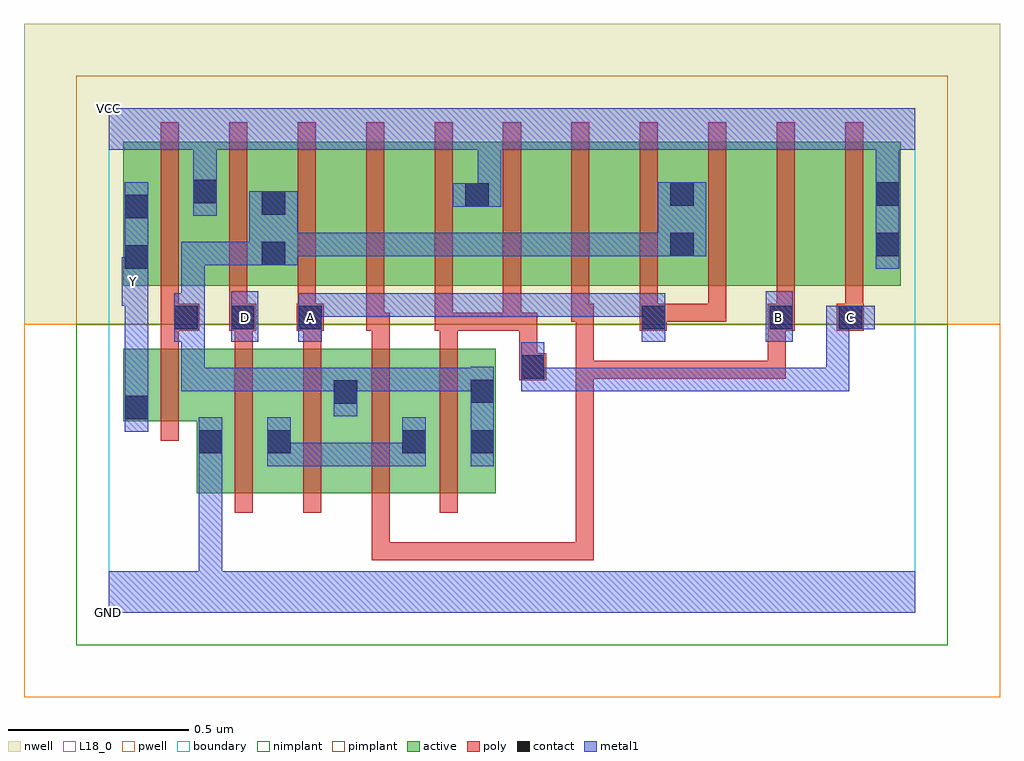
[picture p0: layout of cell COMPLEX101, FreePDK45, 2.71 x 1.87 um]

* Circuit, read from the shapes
.subckt COMPLEX101 A B C D GND VCC Y
M1 GND n1 Y VSUBS nfet w=0.2u l=0.05u
M2 n2 D GND VSUBS nfet w=0.4u l=0.05u
M3 n1 A n2 VSUBS nfet w=0.4u l=0.05u
M4 n2 B n1 VSUBS nfet w=0.4u l=0.05u
M5 n1 C n2 VSUBS nfet w=0.4u l=0.05u
M6 VCC n1 Y n3 pfet w=0.4u l=0.05u
M7 n1 D VCC n3 pfet w=0.4u l=0.05u
M8 n4 A n1 n3 pfet w=0.4u l=0.05u
M9 n5 B n4 n3 pfet w=0.4u l=0.05u
M10 VCC C n5 n3 pfet w=0.4u l=0.05u
M11 n6 C VCC n3 pfet w=0.4u l=0.05u
M12 n7 B n6 n3 pfet w=0.4u l=0.05u
M13 n1 A n7 n3 pfet w=0.4u l=0.05u
M14 n8 A n1 n3 pfet w=0.4u l=0.05u
M15 n9 B n8 n3 pfet w=0.4u l=0.05u
M16 VCC C n9 n3 pfet w=0.4u l=0.05u
.ends

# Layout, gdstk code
import gdstk
lib = gdstk.Library(unit=1e-6, precision=1e-09)
def R(c, l, rs):  # rectangles x0, y0, x1, y1
    for r in rs: c.add(gdstk.rectangle(r[:2], r[2:], *l))
def A(c, l, x, y, w, h, nx, ny, dx, dy):  # array of equal rectangles
    R(c, l, [(x+i*dx, y+j*dy, x+i*dx+w, y+j*dy+h) for i in range(nx) for j in range(ny)])
active = (1, 0)
pwell = (2, 0)
nwell = (3, 0)
nimplant = (4, 0)
pimplant = (5, 0)
poly = (9, 0)
contact = (10, 0)
metal1 = (11, 0)
L18_0 = (18, 0)
boundary = (235, 0)

complex101 = lib.new_cell('COMPLEX101')
A(complex101, active, 0.645, 0.907, 0.19, 0.4, 3, 1, 0.57, 0)
A(complex101, active, 0.835, 0.907, 0.225, 0.4, 3, 1, 0.57, 0)
R(complex101, active, [(0.245,0.332,0.51,0.732), (0.435,0.332,0.695,0.732), (0.435,0.332,0.51,0.597), (0.62,0.332,0.885,0.732), (0.81,0.332,1.075,0.732), (0.62,0.345,0.695,0.732), (0.81,0.345,0.885,0.537), (1,0.345,1.075,0.732), (0.245,0.437,0.32,0.597), (0.04,0.532,0.32,0.732), (0.04,0.532,0.115,0.732), (0.04,0.907,0.305,1.307), (0.04,0.907,0.115,1.2), (0.23,0.907,0.495,1.307), (0.23,0.907,0.305,1.307), (0.42,0.907,0.645,1.307), (0.42,0.907,0.495,1.2), (0.985,0.907,1.06,1.307), (0.985,0.907,1.215,1.307), (1.555,0.907,1.785,1.307), (1.555,0.907,1.63,1.2), (2.125,0.907,2.2,1.307)])
R(complex101, pwell, [(-0.235,-0.235,2.475,0.8)])
R(complex101, nwell, [(-0.235,0.8,2.475,1.635)])
R(complex101, nimplant, [(-0.09,-0.09,2.33,0.8)])
R(complex101, pimplant, [(-0.09,0.8,2.33,1.49)])
A(complex101, poly, 0.35, 0.277, 0.05, 0.51, 4, 1, 0.19, 0)
A(complex101, poly, 0.35, 0.737, 0.05, 0.095, 4, 1, 0.19, 0)
A(complex101, poly, 0.715, 0.782, 0.05, 0.12, 3, 1, 0.19, 0)
A(complex101, poly, 0.145, 0.807, 0.05, 0.095, 3, 1, 0.19, 0)
A(complex101, poly, 1.285, 0.807, 0.05, 0.095, 5, 1, 0.19, 0)
A(complex101, poly, 0.145, 0.852, 0.05, 0.51, 11, 1, 0.19, 0)
R(complex101, poly, [(0.73,0.145,0.78,0.195), (0.73,0.145,0.78,0.195), (0.73,0.145,0.78,0.195), (0.73,0.145,0.78,0.327), (0.73,0.145,1.012,0.195), (0.962,0.145,1.012,0.195), (0.962,0.145,1.012,0.195), (0.962,0.145,1.012,0.195), (0.962,0.145,1.202,0.195), (1.152,0.145,1.202,0.195), (1.152,0.145,1.202,0.195), (1.152,0.145,1.202,0.195), (1.152,0.145,1.202,0.195), (1.152,0.145,1.202,0.195), (1.152,0.145,1.347,0.195), (1.297,0.145,1.347,0.195), (1.297,0.145,1.347,0.195), (1.297,0.145,1.347,0.195), (1.297,0.145,1.347,0.7), (0.145,0.477,0.195,0.787), (1.14,0.645,1.215,0.72), (1.297,0.65,1.347,0.7), (1.297,0.65,1.347,0.7), (1.297,0.65,1.347,0.7), (1.297,0.65,1.582,0.7), (1.297,0.65,1.347,0.857), (1.532,0.65,1.582,0.7), (1.532,0.65,1.582,0.7), (1.532,0.65,1.582,0.7), (1.532,0.65,1.747,0.7), (1.697,0.65,1.747,0.7), (1.697,0.65,1.747,0.7), (1.697,0.65,1.747,0.7), (1.697,0.65,1.88,0.7), (1.83,0.65,1.88,0.7), (1.83,0.65,1.88,0.832), (1.14,0.67,1.19,0.832), (0.145,0.737,0.195,0.832), (0.145,0.782,0.252,0.857), (0.335,0.782,0.41,0.857), (0.522,0.782,0.597,0.857), (0.715,0.782,0.78,0.832), (0.905,0.782,0.97,0.832), (0.92,0.782,0.97,0.832), (0.92,0.782,0.97,0.832), (0.92,0.782,1.145,0.832), (1.095,0.782,1.19,0.832), (1.14,0.782,1.19,0.832), (1.14,0.782,1.19,0.832), (1.475,0.782,1.55,0.857), (1.83,0.782,1.905,0.857), (1.83,0.782,1.88,0.832), (1.83,0.782,1.88,0.832), (2.022,0.782,2.097,0.857), (1.285,0.807,1.347,0.857), (1.297,0.807,1.347,0.857), (1.297,0.807,1.347,0.857), (1.5,0.807,1.55,0.857), (1.5,0.807,1.55,0.857), (1.5,0.807,1.715,0.857), (1.665,0.807,1.715,0.857)])
R(complex101, contact, [(0.25,0.442,0.315,0.507), (0.44,0.442,0.505,0.507), (0.815,0.442,0.88,0.507), (1.005,0.442,1.07,0.507), (0.045,0.537,0.11,0.602), (0.625,0.58,0.69,0.645), (1.005,0.582,1.07,0.647), (1.145,0.65,1.21,0.715), (0.182,0.787,0.247,0.852), (0.34,0.787,0.405,0.852), (0.527,0.787,0.592,0.852), (1.48,0.787,1.545,0.852), (1.835,0.787,1.9,0.852), (2.027,0.787,2.092,0.852), (0.045,0.955,0.11,1.02), (0.425,0.965,0.49,1.03), (1.56,0.99,1.625,1.055), (2.13,0.99,2.195,1.055), (0.045,1.095,0.11,1.16), (0.425,1.105,0.49,1.17), (0.99,1.127,1.055,1.192), (1.56,1.13,1.625,1.195), (2.13,1.13,2.195,1.195), (0.235,1.137,0.3,1.202)])
R(complex101, metal1, [(0,0,2.24,0.115), (0.25,0.05,0.315,0.472), (0.25,0.407,0.315,0.472), (0.25,0.407,0.315,0.472), (0.25,0.407,0.315,0.472), (0.25,0.407,0.315,0.472), (0.25,0.407,0.315,0.542), (0.44,0.407,0.505,0.542), (0.44,0.407,0.662,0.472), (0.597,0.407,0.662,0.472), (0.597,0.407,0.662,0.472), (0.597,0.407,0.662,0.472), (0.597,0.407,0.88,0.472), (0.815,0.407,0.88,0.472), (0.815,0.407,0.88,0.472), (0.815,0.407,0.88,0.542), (1.005,0.407,1.07,0.682), (0.045,0.502,0.11,0.637), (0.625,0.545,0.69,0.68), (0.045,0.572,0.11,0.917), (0.202,0.615,0.267,0.68), (0.202,0.615,0.455,0.68), (0.202,0.615,0.267,0.817), (0.39,0.615,0.455,0.68), (0.39,0.615,0.455,0.68), (0.39,0.615,0.455,0.68), (0.39,0.615,0.592,0.68), (0.527,0.615,0.592,0.68), (0.527,0.615,0.69,0.68), (0.625,0.615,0.882,0.68), (0.817,0.615,0.882,0.68), (0.817,0.615,0.882,0.68), (0.817,0.615,0.882,0.68), (0.817,0.615,1.07,0.68), (1.005,0.615,1.07,0.68), (1.005,0.615,1.07,0.68), (1.145,0.615,1.21,0.68), (1.145,0.615,1.21,0.68), (1.145,0.615,1.21,0.68), (1.145,0.615,1.21,0.68), (1.145,0.615,1.347,0.68), (1.145,0.615,1.21,0.75), (1.282,0.615,1.347,0.68), (1.282,0.615,1.452,0.68), (1.387,0.615,1.452,0.68), (1.387,0.615,1.59,0.68), (1.525,0.615,1.59,0.68), (1.525,0.615,1.727,0.68), (1.662,0.615,1.727,0.68), (1.662,0.615,1.727,0.68), (1.662,0.615,1.727,0.68), (1.662,0.615,1.865,0.68), (1.8,0.615,1.865,0.68), (1.8,0.615,1.865,0.68), (1.8,0.615,1.865,0.68), (1.8,0.615,2.057,0.68), (1.992,0.615,2.057,0.68), (1.992,0.615,2.057,0.852), (0.182,0.752,0.247,0.887), (0.182,0.752,0.267,0.817), (0.202,0.752,0.267,0.817), (0.202,0.752,0.267,1.03), (0.34,0.752,0.415,0.892), (0.527,0.752,0.592,0.887), (1.48,0.752,1.545,0.887), (1.825,0.752,1.9,0.892), (1.992,0.787,2.057,0.852), (1.992,0.787,2.057,0.852), (1.992,0.787,2.127,0.852), (0.527,0.822,0.662,0.887), (0.597,0.822,0.662,0.887), (0.597,0.822,0.882,0.887), (0.817,0.822,0.882,0.887), (0.817,0.822,0.882,0.887), (0.817,0.822,0.882,0.887), (0.817,0.822,1.072,0.887), (1.007,0.822,1.072,0.887), (1.007,0.822,1.072,0.887), (1.007,0.822,1.072,0.887), (1.007,0.822,1.21,0.887), (1.145,0.822,1.21,0.887), (1.145,0.822,1.315,0.887), (1.25,0.822,1.315,0.887), (1.25,0.822,1.347,0.887), (1.282,0.822,1.347,0.887), (1.282,0.822,1.452,0.887), (1.387,0.822,1.452,0.887), (1.387,0.822,1.545,0.887), (0.037,0.852,0.11,0.987), (0.045,0.92,0.11,1.195), (0.045,0.92,0.11,0.985), (2.13,0.955,2.195,1.23), (0.202,0.965,0.267,1.03), (0.202,0.965,0.455,1.03), (0.39,0.965,0.455,1.03), (0.39,0.965,0.455,1.03), (0.39,0.965,0.525,1.17), (0.46,0.99,0.69,1.055), (0.625,0.99,0.69,1.055), (0.625,0.99,0.69,1.055), (0.625,0.99,0.69,1.055), (0.625,0.99,0.827,1.055), (0.762,0.99,0.827,1.055), (0.762,0.99,0.827,1.055), (0.762,0.99,0.827,1.055), (0.762,0.99,1.072,1.055), (1.007,0.99,1.072,1.055), (1.007,0.99,1.072,1.055), (1.007,0.99,1.072,1.055), (1.007,0.99,1.21,1.055), (1.145,0.99,1.21,1.055), (1.145,0.99,1.21,1.055), (1.145,0.99,1.21,1.055), (1.145,0.99,1.407,1.055), (1.342,0.99,1.407,1.055), (1.342,0.99,1.452,1.055), (1.387,0.99,1.452,1.055), (1.387,0.99,1.59,1.055), (1.525,0.99,1.59,1.055), (1.525,0.99,1.59,1.055), (1.525,0.99,1.66,1.195), (0.235,1.102,0.3,1.237), (0.955,1.127,1.09,1.192), (1.025,1.127,1.09,1.35), (2.13,1.165,2.195,1.35), (0.235,1.172,0.3,1.35), (0,1.285,2.24,1.4)])
R(complex101, L18_0, [(0,0,2.24,0.115), (0.25,0.05,0.315,0.472), (0.25,0.407,0.315,0.542), (0.25,0.407,0.315,0.472), (0.25,0.407,0.315,0.472), (0.25,0.407,0.315,0.472), (0.25,0.407,0.315,0.472), (0.045,0.502,0.11,0.637), (0.045,0.572,0.11,0.917), (1.145,0.615,1.21,0.75), (1.145,0.615,1.21,0.68), (1.145,0.615,1.21,0.68), (1.145,0.615,1.21,0.68), (1.145,0.615,1.21,0.68), (1.145,0.615,1.347,0.68), (1.282,0.615,1.347,0.68), (1.282,0.615,1.452,0.68), (1.387,0.615,1.452,0.68), (1.387,0.615,1.59,0.68), (1.525,0.615,1.59,0.68), (1.525,0.615,1.727,0.68), (1.662,0.615,1.727,0.68), (1.662,0.615,1.727,0.68), (1.662,0.615,1.727,0.68), (1.662,0.615,1.865,0.68), (1.8,0.615,1.865,0.68), (1.8,0.615,1.865,0.68), (1.8,0.615,1.865,0.68), (1.8,0.615,2.057,0.68), (1.992,0.615,2.057,0.68), (1.992,0.615,2.057,0.852), (0.34,0.752,0.415,0.892), (0.527,0.752,0.592,0.887), (1.48,0.752,1.545,0.887), (1.825,0.752,1.9,0.892), (0.347,0.787,0.412,0.852), (0.527,0.787,0.592,0.852), (1.827,0.787,1.892,0.852), (1.992,0.787,2.057,0.852), (1.992,0.787,2.057,0.852), (1.992,0.787,2.127,0.852), (2.027,0.787,2.092,0.852), (0.527,0.822,0.662,0.887), (0.597,0.822,0.662,0.887), (0.597,0.822,0.882,0.887), (0.817,0.822,0.882,0.887), (0.817,0.822,0.882,0.887), (0.817,0.822,0.882,0.887), (0.817,0.822,1.072,0.887), (1.007,0.822,1.072,0.887), (1.007,0.822,1.072,0.887), (1.007,0.822,1.072,0.887), (1.007,0.822,1.21,0.887), (1.145,0.822,1.21,0.887), (1.145,0.822,1.315,0.887), (1.25,0.822,1.315,0.887), (1.25,0.822,1.347,0.887), (1.282,0.822,1.347,0.887), (1.282,0.822,1.452,0.887), (1.387,0.822,1.452,0.887), (1.387,0.822,1.545,0.887), (0.037,0.852,0.11,0.987), (0.037,0.887,0.102,0.952), (0.045,0.92,0.11,1.195), (0.045,0.92,0.11,0.985), (2.13,0.955,2.195,1.23), (0.235,1.102,0.3,1.237), (0.955,1.127,1.09,1.192), (1.025,1.127,1.09,1.35), (2.13,1.165,2.195,1.35), (0.235,1.172,0.3,1.35), (0,1.285,2.24,1.4)])
R(complex101, boundary, [(0,0,2.24,1.4)])
complex101.add(gdstk.Label('A', (0.56,0.82), layer=11, texttype=0))
complex101.add(gdstk.Label('B', (1.86,0.82), layer=11, texttype=0))
complex101.add(gdstk.Label('C', (2.06,0.82), layer=11, texttype=0))
complex101.add(gdstk.Label('D', (0.38,0.82), layer=11, texttype=0))
complex101.add(gdstk.Label('Y', (0.07,0.92), layer=11, texttype=0))
complex101.add(gdstk.Label('VCC', (0,1.4), layer=11, texttype=0))
complex101.add(gdstk.Label('GND', (0,0), layer=11, texttype=0))

lib.write_gds('COMPLEX101.gds')
